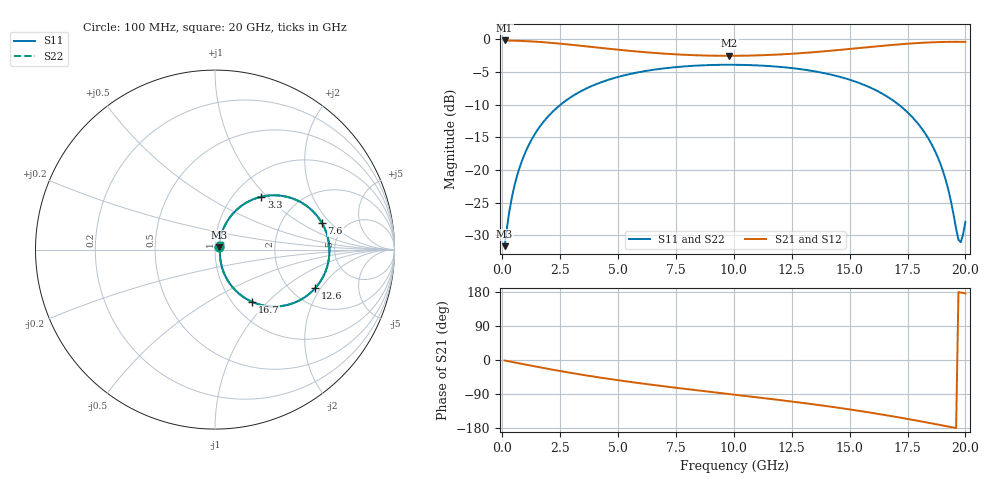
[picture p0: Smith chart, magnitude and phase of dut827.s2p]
! Touchstone file exported from HFSS 2026.1.0
!  File:  C:/ffzhzh/LocalFiles/Ansys_Project_Files/temp_train_TSV_RDL_827_1783266427_30076.aedt
!  Generated:  11:58:35 PM Jul  5, 2026
!  Design:  TSV_RDL
!  Project:  temp_train_TSV_RDL_827_1783266427_30076
! Variables:
!  h_bsmrdl = 4.62um
!  h_ox = 20um
!  h_rdl = 5um
!  h_sub = 78.12um
!  h_tmrdl = 4.86um
!  h_tsv = 78.12um
!  h_via = 3um
!  l_bsmrdl = 219.49um
!  l_sub = 3079.91um
!  l_tmrdl = 477.58um
!  m_sub = 200um
!  pitch = 55.46um
!  r_tsv = 2.19um
!  s_tmrdl = 10um
!  w_bsmrdl = 15.34um
!  w_sub = 500um
!  w_tmrdl = 21.7um
!  x_tsv_center1 = 488.43um
!  x_tsv_center2 = 723.26um
!  x_tsv_center3 = 1222.54um
!  x_tsv_center4 = 1457.37um
!  x_tsv_center5 = 1956.65um
!  x_tsv_center6 = 2191.48um
# GHz S MA R 50.000000
! Terminal data exported
! Port[1] = TM_RDL1_1_T1
! Port[2] = TM_RDL5_1_T1
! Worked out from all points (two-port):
!   200 points, 100 MHz to 20 GHz, reference 50 ohm
!   highest |S21| = -0.19 dB at 100 MHz (marker M1); lowest = -2.5 dB at 9.8 GHz (marker M2)
!   |S21| within 3 dB of the highest: start of sweep to end of sweep
!   lowest |S11| = -31.6 dB at 100 MHz (marker M3), VSWR 1.05, Z = 52.3 + j1.44 ohm
!   |S11| at or under -10 dB: start of sweep to 2.519 GHz; 17.12 GHz to end of sweep
!   |S22| runs from -31.6 to -3.9 dB; largest |S21 - S12| = 7e-14
!   S11 on the Smith chart (normalised r, x): 100 MHz: 1.05, +0.03; 3.3 GHz: 1.33, +0.92; 7.6 GHz: 3.37, +1.60; 12.6 GHz: 2.68, -1.78; 16.7 GHz: 1.22, -0.82; 20 GHz: 1.06, +0.06
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0.1  0.02619 31.8  0.9779 -1.2  0.9779 -1.2  0.02619 31.8
! Gamma 0 0 0 0
! Port Impedance 50 0 50 0
0.3  0.04766 57.8  0.9764 -3.7  0.9764 -3.7  0.04766 57.8
0.5  0.07265 65.3  0.9744 -6.1  0.9744 -6.1  0.07265 65.3
1.1  0.1499 67.6  0.965 -13.2  0.965 -13.2  0.1499 67.6
2  0.2594 60.9  0.9412 -23.6  0.9412 -23.6  0.2594 60.9
3.3  0.3917 48.8  0.8943 -37.4  0.8943 -37.4  0.3917 48.8
3.5  0.4091 46.9  0.8866 -39.4  0.8866 -39.4  0.4091 46.9
5  0.5147 33.8  0.8311 -53.3  0.8311 -53.3  0.5147 33.8
6.8  0.5929 19.7  0.7796 -68.0  0.7796 -68.0  0.5929 19.7
7.6  0.6141 13.9  0.7641 -74.0  0.7641 -74.0  0.6141 13.9
9.8  0.6377 -1.3  0.7462 -89.9  0.7462 -89.9  0.6377 -1.3
10.1  0.6373 -3.4  0.7466 -92.0  0.7466 -92.0  0.6372 -3.4
12.6  0.5988 -20.9  0.7757 -110.3  0.7757 -110.3  0.5988 -20.9
13.4  0.5717 -26.9  0.7942 -116.7  0.7942 -116.7  0.5717 -26.9
15.2  0.4773 -41.4  0.8486 -132.2  0.8486 -132.2  0.4773 -41.4
16.7  0.3569 -54.7  0.8994 -146.9  0.8994 -146.9  0.3569 -54.7
17.8  0.2435 -64.1  0.9313 -158.8  0.9313 -158.8  0.2435 -64.1
18.6  0.1503 -68.9  0.9473 -167.9  0.9473 -167.9  0.1503 -68.9
19.2  0.07804 -65.5  0.9537 -174.9  0.9537 -174.9  0.078 -65.5
19.7  0.02936 -20.5  0.9549 179.3  0.9549 179.3  0.02929 -20.6
19.8  0.02807 3.9  0.9547 178.1  0.9547 178.1  0.028 3.9
20  0.04016 40.6  0.9538 175.8  0.9538 175.8  0.04011 40.7
